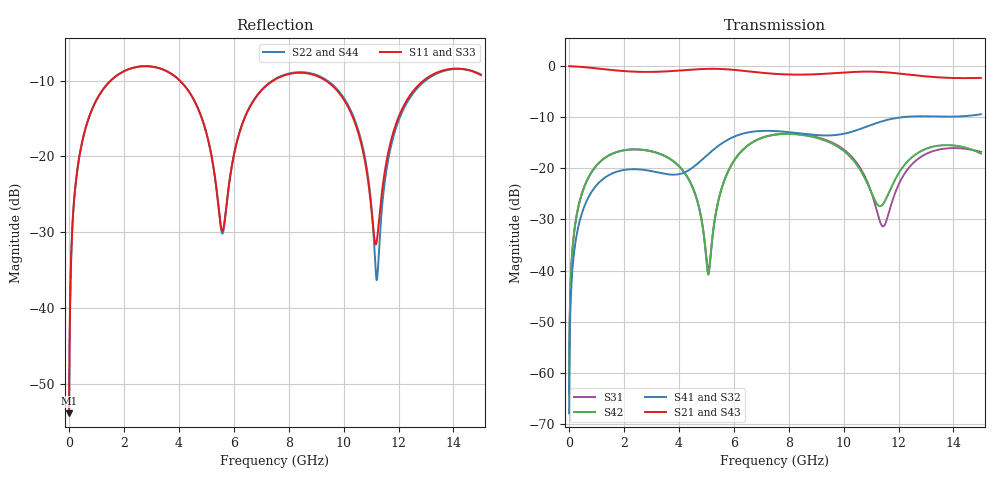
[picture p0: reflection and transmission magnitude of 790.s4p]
! Created with skrf 1.8.0 (http://scikit-rf.org).
# GHz S RI R 50.0
!freq ReS11 ImS11 ReS12 ImS12 ReS13 ImS13
! ReS14 ImS14
! ReS21 ImS21 ReS22 ImS22 ReS23 ImS23
! ReS24 ImS24
! ReS31 ImS31 ReS32 ImS32 ReS33 ImS33
! ReS34 ImS34
! ReS41 ImS41 ReS42 ImS42 ReS43 ImS43
! ReS44 ImS44
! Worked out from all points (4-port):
!   2499 points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, 5 MHz to 15 GHz, reference 50 ohm
!   strongest paths, dB at 5 MHz, 3.476 GHz, 7.19 GHz, 11.1 GHz, 15 GHz:
!     S21: 0.0, -1.1, -1.4, -1.1, -2.3
!     S43: 0.0, -1.1, -1.4, -1.1, -2.3
!     S41: -67.9, -21.1, -12.7, -11.3, -9.4
!     S32: -67.9, -21.1, -12.7, -11.4, -9.4
!     S42: -64.0, -17.6, -13.8, -25.8, -17.1
!     S31: -64.0, -17.5, -13.7, -26.2, -16.8
!   lowest |S11| = -53.9 dB at 5 MHz (marker M1), VSWR 1.00, Z = 50.2 + j0.123 ohm
!   |S11| at or under -10 dB: start of sweep to 1.515 GHz; 4.041 GHz to 7.431 GHz (3.39 GHz wide, 59.1 % of centre); 9.359 GHz to 12.91 GHz (3.547 GHz wide, 31.9 % of centre)
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0.005  0.0016 0.00122  0.9984 -0.00312  8.01e-05 0.000625  -7.79e-05 -0.000394
       0.9984 -0.00312  0.0016 0.00122  -7.79e-05 -0.000394  8.01e-05 0.000625
       8.01e-05 0.000625  -7.79e-05 -0.000394  0.0016 0.00122  0.9984 -0.00312
       -7.79e-05 -0.000394  8.01e-05 0.000625  0.9984 -0.00312  0.0016 0.00122
0.3126303  0.0232 0.0805  0.9684 -0.1945  0.0104 0.0372  -0.00871 -0.0232
           0.9684 -0.1945  0.0232 0.0805  -0.0087 -0.0232  0.0104 0.0372
           0.0104 0.0372  -0.0087 -0.0232  0.0232 0.0805  0.9684 -0.1945
           -0.00871 -0.0232  0.0104 0.0372  0.9684 -0.1945  0.0232 0.0805
1.519383  0.2578 0.184  0.5768 -0.7135  0.121 0.0635  -0.0871 -0.0106
          0.5768 -0.7135  0.2579 0.184  -0.0869 -0.0108  0.1209 0.0637
          0.121 0.0635  -0.0869 -0.0108  0.2579 0.1839  0.5768 -0.7135
          -0.0871 -0.0106  0.1209 0.0637  0.5768 -0.7135  0.2578 0.1841
5.427261  0.0336 -0.0375  -0.927 -0.1508  -0.00572 0.0461  -0.0217 0.1635
          -0.927 -0.1508  0.0324 -0.0376  -0.0253 0.163  -0.00521 0.0464
          -0.00572 0.0461  -0.0253 0.163  0.0331 -0.0374  -0.927 -0.1507
          -0.0217 0.1635  -0.00521 0.0464  -0.927 -0.1507  0.033 -0.0377
8.7599  0.3466 -0.0581  0.0323 0.8274  0.1862 -0.0947  0.1924 -0.0948
        0.0323 0.8274  0.3501 -0.062  0.1921 -0.0864  0.1874 -0.0861
        0.1862 -0.0947  0.1921 -0.0864  0.3483 -0.0626  0.0324 0.8273
        0.1924 -0.0948  0.1874 -0.0861  0.0324 0.8273  0.3487 -0.0577
11.21092  0.026 0.00981  0.8679 0.1439  0.0107 -0.037  0.0283 -0.2765
          0.8679 0.1439  0.0152 0.00133  0.0443 -0.2739  0.0308 -0.0329
          0.0107 -0.037  0.0443 -0.2739  0.0173 0.00775  0.868 0.1436
          0.0283 -0.2765  0.0308 -0.0329  0.868 0.1436  0.0237 0.0033
15  0.3311 -0.095  -0.2145 -0.7363  -0.02 -0.1435  -0.3154 0.1223
    -0.2145 -0.7363  0.3376 -0.0851  -0.3228 0.0995  -0.00942 -0.1391
    -0.02 -0.1435  -0.3228 0.0995  0.331 -0.0961  -0.2149 -0.7361
    -0.3154 0.1223  -0.00942 -0.1391  -0.2149 -0.7361  0.3378 -0.0846
